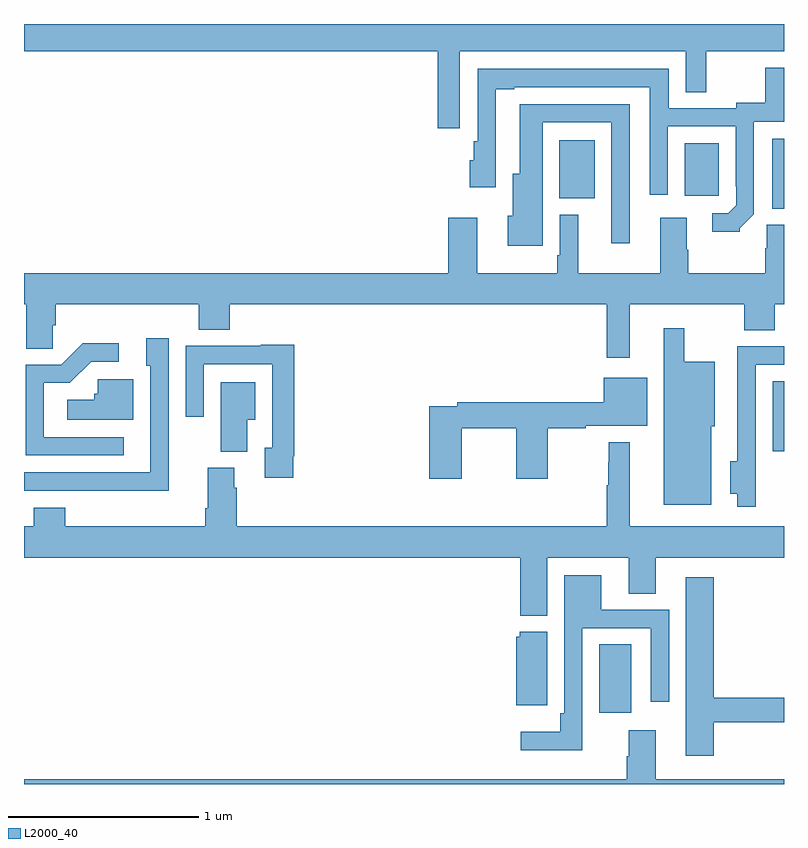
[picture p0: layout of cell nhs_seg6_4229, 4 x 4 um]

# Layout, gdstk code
import gdstk
lib = gdstk.Library(unit=1e-6, precision=1e-09)
def R(c, l, rs):  # rectangles x0, y0, x1, y1
    for r in rs: c.add(gdstk.rectangle(r[:2], r[2:], *l))
def P(c, l, *ps):  # polygons
    for p in ps: c.add(gdstk.Polygon(p, *l))
L2000_40 = (2000, 40)

nhs_seg6_4229 = lib.new_cell('nhs_seg6_4229')
R(nhs_seg6_4229, L2000_40, [(364.028,923.874,364.195,924.236), (364.94,925.251,365,925.621), (364.937,926.528,365,926.896), (363.818,926.582,364.003,926.887), (364.478,926.595,364.657,926.872)])
P(nhs_seg6_4229, L2000_40, [(363.294,927.356),(364.482,927.356),(364.482,927.142),(364.591,927.142),(364.591,927.356),(365,927.356),(365,927.5),(361,927.5),(361,927.356),(363.178,927.356),(363.178,926.952),(363.294,926.952)],
  [(364.767,926.424),(364.842,926.499),(364.842,926.985),(365,926.985),(365,927.271),(364.9,927.271),(364.9,927.086),(364.749,927.086),(364.749,927.057),(364.393,927.057),(364.393,927.264),(363.387,927.264),(363.387,926.884),(363.367,926.884),(363.367,926.784),(363.347,926.784),(363.347,926.64),(363.483,926.64),(363.483,927.156),(363.58,927.156),(363.58,927.168),(364.293,927.168),(364.293,926.601),(364.389,926.601),(364.389,926.961),(364.746,926.961),(364.746,926.647),(364.749,926.647),(364.749,926.547),(364.707,926.505),(364.623,926.505),(364.623,926.407),(364.767,926.407)],
  [(363.73,926.982),(364.092,926.982),(364.092,926.346),(364.188,926.346),(364.188,927.078),(363.608,927.078),(363.608,926.713),(363.572,926.713),(363.572,926.49),(363.545,926.49),(363.545,926.333),(363.73,926.333)],
  [(364.189,926.024),(364.792,926.024),(364.792,925.888),(364.952,925.888),(364.952,926.024),(365,926.024),(365,926.443),(364.908,926.443),(364.908,926.321),(364.9,926.321),(364.9,926.188),(364.497,926.188),(364.497,926.312),(364.489,926.312),(364.489,926.479),(364.349,926.479),(364.349,926.188),(363.916,926.188),(363.916,926.497),(363.819,926.497),(363.819,926.284),(363.807,926.284),(363.807,926.188),(363.385,926.188),(363.385,926.479),(363.233,926.479),(363.233,926.188),(361,926.188),(361,926.024),(361.013,926.024),(361.013,925.792),(361.152,925.792),(361.152,925.915),(361.166,925.915),(361.166,926.024),(361.919,926.024),(361.919,925.891),(362.084,925.891),(362.084,926.024),(364.068,926.024),(364.068,925.743),(364.189,925.743)],
  [(364.618,925.383),(364.636,925.383),(364.636,925.723),(364.474,925.723),(364.474,925.9),(364.367,925.9),(364.367,924.971),(364.618,924.971)],
  [(361.763,925.346),(361.761,925.346),(361.761,925.846),(361.643,925.846),(361.643,925.701),(361.665,925.701),(361.665,925.14),(361,925.14),(361,925.044),(361.3,925.044),(361.3,925.043),(361.763,925.043)],
  [(361.525,925.326),(361.104,925.326),(361.104,925.611),(361.242,925.611),(361.353,925.722),(361.498,925.722),(361.498,925.82),(361.31,925.82),(361.197,925.707),(361.008,925.707),(361.008,925.23),(361.525,925.23)],
  [(362.416,925.225),(362.423,925.225),(362.423,925.813),(362.247,925.813),(362.247,925.806),(361.851,925.806),(361.851,925.434),(361.947,925.434),(361.947,925.71),(362.307,925.71),(362.307,925.269),(362.267,925.269),(362.267,925.113),(362.416,925.113)],
  [(364.852,925.182),(364.851,925.182),(364.851,925.707),(365,925.707),(365,925.803),(364.755,925.803),(364.755,925.199),(364.718,925.199),(364.718,925.028),(364.754,925.028),(364.754,924.96),(364.852,924.96)],
  [(363.304,925.372),(363.59,925.372),(363.59,925.107),(363.756,925.107),(363.756,925.372),(363.956,925.372),(363.956,925.385),(364.279,925.385),(364.279,925.639),(364.052,925.639),(364.052,925.508),(363.28,925.508),(363.28,925.488),(363.134,925.488),(363.134,925.107),(363.304,925.107)],
  [(361.576,925.629),(361.389,925.629),(361.389,925.554),(361.37,925.554),(361.37,925.522),(361.227,925.522),(361.227,925.418),(361.576,925.418)],
  [(362.176,925.418),(362.218,925.418),(362.218,925.615),(362.036,925.615),(362.036,925.249),(362.176,925.249)],
  [(363.754,924.692),(364.184,924.692),(364.184,924.502),(364.324,924.502),(364.324,924.692),(365,924.692),(365,924.856),(364.189,924.856),(364.189,925.3),(364.078,925.3),(364.078,925.193),(364.075,925.193),(364.075,925.073),(364.068,925.073),(364.068,924.856),(362.12,924.856),(362.12,925.058),(362.107,925.058),(362.107,925.164),(361.967,925.164),(361.967,924.952),(361.955,924.952),(361.955,924.856),(361.217,924.856),(361.217,924.955),(361.052,924.955),(361.052,924.856),(361,924.856),(361,924.692),(363.611,924.692),(363.611,924.386),(363.754,924.386)],
  [(363.939,924.321),(364.299,924.321),(364.299,923.934),(364.395,923.934),(364.395,924.417),(364.039,924.417),(364.039,924.598),(363.843,924.598),(363.843,923.872),(363.823,923.872),(363.823,923.776),(363.615,923.776),(363.615,923.678),(363.939,923.678)],
  [(364.631,923.826),(365,923.826),(365,923.954),(364.631,923.954),(364.631,924.589),(364.484,924.589),(364.484,923.649),(364.631,923.649)],
  [(363.754,924.301),(363.609,924.301),(363.609,924.276),(363.59,924.276),(363.59,923.915),(363.754,923.915)],
  [(365,923.524),(364.324,923.524),(364.324,923.782),(364.184,923.782),(364.184,923.645),(364.172,923.645),(364.172,923.524),(361,923.524),(361,923.5),(365,923.5)])

lib.write_gds('nhs_seg6_4229.gds')
